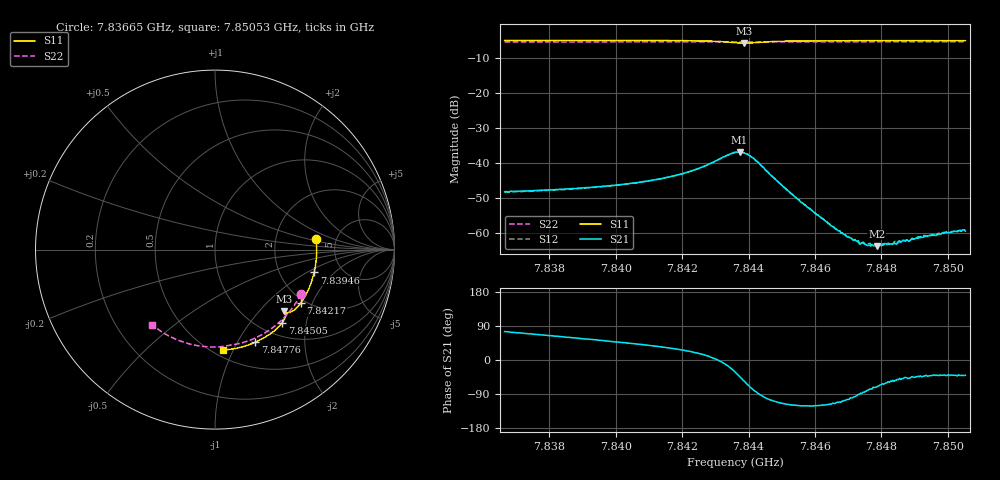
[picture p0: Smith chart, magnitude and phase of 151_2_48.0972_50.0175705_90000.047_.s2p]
#  HZ  S  RI  R  50.00
! Rohde & Schwarz Vector Network Analyzer
! Rohde-Schwarz,ZNB20-2Port,1311601062101988,3.16
! Created: UTC 12/23/2023, 3:49:45 AM
! freq[Hz]  re:S11  im:S11  re:S21  im:S21  re:S12  im:S12  re:S22  im:S22
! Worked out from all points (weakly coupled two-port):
!   401 points, 7.83665 GHz to 7.85053 GHz, reference 50 ohm
!   highest |S21| = -36.83 dB at 7.84373 GHz (marker M1); lowest = -63.7 dB at 7.84786 GHz (marker M2)
!   lowest |S11| = -5.7 dB at 7.84387 GHz (marker M3), VSWR 3.14, Z = 74 - j69.5 ohm
!   |S11| at or under -10 dB: nowhere
!   |S22| runs from -5.4 to -5.3 dB; largest |S21 - S12| = 0.00026
!   S11 on the Smith chart (normalised r, x): 7.83665 GHz: 3.49, +0.60; 7.83946 GHz: 3.13, -1.18; 7.84217 GHz: 1.89, -1.65; 7.84505 GHz: 1.25, -1.46; 7.84776 GHz: 0.79, -1.19; 7.85053 GHz: 0.56, -0.92
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7.836649e9  0.5629 0.0588  0.00101 0.00376  0.00103 0.00373  0.4787 -0.2486
7.838975e9  0.5587 -0.0954  0.00245 0.00369  0.00239 0.0036  0.3837 -0.3804
7.839461e9  0.5523 -0.1274  0.00282 0.00366  0.00276 0.0036  0.3591 -0.4039
7.841301e9  0.5099 -0.245  0.00485 0.00344  0.0048 0.00343  0.2537 -0.4779
7.842169e9  0.4775 -0.298  0.00684 0.003  0.00677 0.00301  0.1982 -0.5037
7.843071e9  0.4276 -0.3455  0.0111 5.83e-05  0.0111 -6.12e-05  0.1377 -0.5228
7.843592e9  0.3914 -0.3507  0.0121 -0.00747  0.0121 -0.00725  0.1028 -0.5293
7.843731e9  0.3867 -0.3472  0.0105 -0.0099  0.0104 -0.00977  0.0938 -0.5308
7.84387e9  0.3863 -0.3442  0.00783 -0.0115  0.00788 -0.0116  0.0851 -0.5322
7.844217e9  0.3934 -0.3525  0.00127 -0.0109  0.00119 -0.0108  0.0628 -0.5369
7.84505e9  0.3754 -0.4066  -0.00193 -0.00416  -0.00194 -0.00421  0.00447 -0.5425
7.845918e9  0.3323 -0.4511  -0.00109 -0.00179  -0.00109 -0.00178  -0.0566 -0.5405
7.846542e9  0.2973 -0.4767  -0.000496 -0.00113  -0.000528 -0.00114  -0.1003 -0.5348
7.847098e9  0.265 -0.4962  -0.000143 -0.000834  -0.00017 -0.000817  -0.1383 -0.5265
7.84741e9  0.2462 -0.506  2.06e-05 -0.000729  3.26e-05 -0.000696  -0.1596 -0.5207
7.847757e9  0.2251 -0.5159  0.000208 -0.000624  0.000191 -0.00063  -0.1827 -0.5132
7.847862e9  0.2186 -0.5187  0.000207 -0.000618  0.000225 -0.00061  -0.1897 -0.5106
7.848243e9  0.1949 -0.5282  0.000368 -0.000608  0.000361 -0.000582  -0.2145 -0.501
7.849285e9  0.1281 -0.548  0.000648 -0.000599  0.000691 -0.000611  -0.2798 -0.4684
7.849528e9  0.1124 -0.5513  0.000722 -0.00062  0.00072 -0.000628  -0.2944 -0.4596
7.849944e9  0.085 -0.556  0.000763 -0.000675  0.000778 -0.000668  -0.3186 -0.4434
7.850534e9  0.0461 -0.5603  0.000812 -0.000688  0.00084 -0.000743  -0.3514 -0.4181
